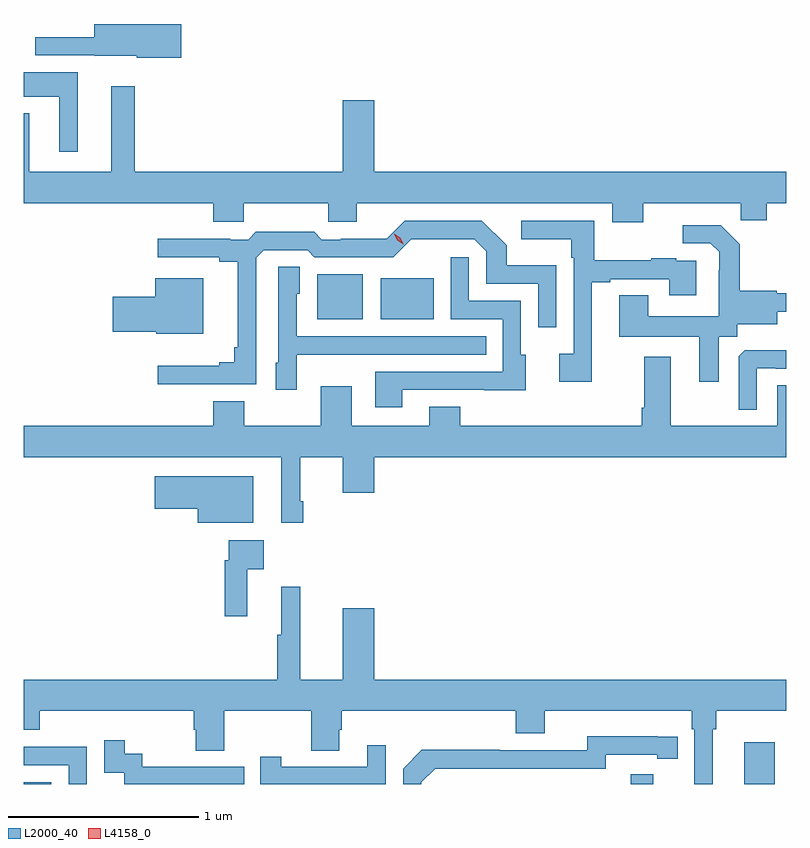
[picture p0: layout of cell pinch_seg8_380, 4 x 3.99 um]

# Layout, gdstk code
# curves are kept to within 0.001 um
import gdstk
lib = gdstk.Library(unit=1e-6, precision=1e-09)
def R(c, l, rs):  # rectangles x0, y0, x1, y1
    for r in rs: c.add(gdstk.rectangle(r[:2], r[2:], *l))
def P(c, l, *ps):  # polygons
    for p in ps: c.add(gdstk.Polygon(p, *l))
L2000_40 = (2000, 40)
L4158_0 = (4158, 0)

pinch_seg8_380 = lib.new_cell('pinch_seg8_380')
R(pinch_seg8_380, L2000_40, [(451.046,1094.805,451.191,1094.814), (454.231,1094.805,454.349,1094.857), (454.826,1094.805,454.985,1095.025), (452.585,1097.243,452.824,1097.479), (452.918,1097.243,453.196,1097.458)])
P(pinch_seg8_380, L2000_40, [(451.873,1098.792),(451.415,1098.792),(451.415,1098.723),(451.107,1098.723),(451.107,1098.627),(451.419,1098.627),(451.419,1098.626),(451.638,1098.626),(451.638,1098.614),(451.873,1098.614)],
  [(451.33,1098.538),(451.046,1098.538),(451.046,1098.41),(451.232,1098.41),(451.232,1098.123),(451.33,1098.123)],
  [(454.297,1097.852),(454.807,1097.852),(454.807,1097.762),(454.945,1097.762),(454.945,1097.852),(455.046,1097.852),(455.046,1098.016),(452.884,1098.016),(452.884,1098.391),(452.72,1098.391),(452.72,1098.016),(451.627,1098.016),(451.627,1098.466),(451.505,1098.466),(451.505,1098.016),(451.075,1098.016),(451.075,1098.325),(451.046,1098.325),(451.046,1097.852),(452.039,1097.852),(452.039,1097.754),(452.199,1097.754),(452.199,1097.852),(452.644,1097.852),(452.644,1097.754),(452.794,1097.754),(452.794,1097.852),(454.133,1097.852),(454.133,1097.753),(454.297,1097.753)],
  [(452.265,1097.565),(452.304,1097.604),(452.535,1097.604),(452.571,1097.568),(452.985,1097.568),(453.08,1097.663),(453.408,1097.664),(453.471,1097.601),(453.471,1097.43),(453.744,1097.43),(453.744,1097.202),(453.84,1097.202),(453.84,1097.527),(453.579,1097.527),(453.579,1097.63),(453.448,1097.76),(453.045,1097.76),(452.951,1097.666),(452.71,1097.666),(452.71,1097.661),(452.61,1097.661),(452.571,1097.701),(452.263,1097.701),(452.223,1097.661),(452.129,1097.661),(452.129,1097.666),(451.749,1097.666),(451.749,1097.568),(452.072,1097.568),(452.072,1097.546),(452.168,1097.546),(452.168,1097.095),(452.149,1097.095),(452.149,1097.018),(452.072,1097.018),(452.072,1096.999),(451.749,1096.999),(451.749,1096.902),(452.265,1096.902)],
  [(454.027,1097.436),(454.123,1097.436),(454.123,1097.454),(454.433,1097.454),(454.433,1097.37),(454.573,1097.37),(454.573,1097.55),(454.469,1097.55),(454.469,1097.563),(454.337,1097.563),(454.337,1097.552),(454.039,1097.552),(454.039,1097.76),(453.657,1097.76),(453.657,1097.663),(453.918,1097.663),(453.918,1097.567),(453.93,1097.567),(453.93,1097.062),(453.855,1097.062),(453.855,1096.914),(454.027,1096.914)],
  [(454.693,1097.152),(454.788,1097.152),(454.788,1097.216),(454.999,1097.216),(454.999,1097.283),(455.046,1097.283),(455.046,1097.379),(454.995,1097.379),(454.995,1097.392),(454.803,1097.392),(454.803,1097.637),(454.703,1097.737),(454.503,1097.737),(454.503,1097.643),(454.647,1097.643),(454.694,1097.596),(454.694,1097.501),(454.692,1097.501),(454.692,1097.26),(454.321,1097.26),(454.321,1097.369),(454.169,1097.369),(454.169,1097.15),(454.589,1097.15),(454.589,1096.914),(454.693,1096.914)],
  [(453.031,1096.872),(453.461,1096.872),(453.461,1096.871),(453.679,1096.871),(453.679,1097.058),(453.654,1097.058),(453.654,1097.34),(453.381,1097.34),(453.381,1097.569),(453.285,1097.569),(453.285,1097.244),(453.558,1097.244),(453.558,1096.968),(452.891,1096.968),(452.891,1096.782),(453.031,1096.782)],
  [(452.478,1097.057),(452.795,1097.057),(452.795,1097.058),(453.473,1097.058),(453.473,1097.154),(452.478,1097.154),(452.478,1097.376),(452.494,1097.376),(452.494,1097.519),(452.382,1097.519),(452.382,1097.016),(452.369,1097.016),(452.369,1096.872),(452.478,1096.872)],
  [(451.987,1097.458),(451.736,1097.458),(451.736,1097.36),(451.512,1097.36),(451.512,1097.177),(451.74,1097.177),(451.74,1097.168),(451.987,1097.168)],
  [(454.89,1096.986),(454.99,1096.986),(454.99,1096.983),(455.046,1096.983),(455.046,1097.081),(454.829,1097.081),(454.797,1097.049),(454.797,1096.769),(454.89,1096.769)],
  [(452.513,1096.288),(452.496,1096.288),(452.496,1096.52),(452.72,1096.52),(452.72,1096.332),(452.884,1096.332),(452.884,1096.52),(455.046,1096.52),(455.046,1096.898),(454.998,1096.898),(454.998,1096.684),(454.441,1096.684),(454.441,1097.047),(454.301,1097.047),(454.301,1096.78),(454.289,1096.78),(454.289,1096.684),(453.337,1096.684),(453.337,1096.783),(453.173,1096.783),(453.173,1096.684),(452.767,1096.684),(452.767,1096.891),(452.603,1096.891),(452.603,1096.684),(452.203,1096.684),(452.203,1096.813),(452.039,1096.813),(452.039,1096.684),(451.046,1096.684),(451.046,1096.52),(452.396,1096.52),(452.396,1096.176),(452.513,1096.176)],
  [(452.251,1096.42),(451.734,1096.42),(451.734,1096.25),(451.958,1096.25),(451.958,1096.175),(452.251,1096.175)],
  [(452.219,1095.932),(452.305,1095.932),(452.305,1096.084),(452.121,1096.084),(452.121,1095.98),(452.101,1095.98),(452.101,1095.684),(452.219,1095.684)],
  [(454.66,1095.092),(454.679,1095.092),(454.679,1095.188),(455.046,1095.188),(455.046,1095.352),(452.884,1095.352),(452.884,1095.727),(452.72,1095.727),(452.72,1095.352),(452.496,1095.352),(452.496,1095.841),(452.396,1095.841),(452.396,1095.588),(452.377,1095.588),(452.377,1095.352),(451.046,1095.352),(451.046,1095.089),(451.13,1095.089),(451.13,1095.188),(451.937,1095.188),(451.937,1095.09),(451.949,1095.09),(451.949,1094.98),(452.097,1094.98),(452.097,1095.188),(452.554,1095.188),(452.554,1094.98),(452.701,1094.98),(452.701,1095.09),(452.714,1095.09),(452.714,1095.188),(453.626,1095.188),(453.626,1095.071),(453.778,1095.071),(453.778,1095.188),(454.55,1095.188),(454.55,1095.092),(454.563,1095.092),(454.563,1094.805),(454.66,1094.805)],
  [(453.132,1094.814),(453.204,1094.886),(454.098,1094.886),(454.098,1094.958),(454.37,1094.958),(454.37,1094.938),(454.478,1094.938),(454.478,1095.054),(454.002,1095.055),(454.002,1094.982),(453.542,1094.982),(453.542,1094.984),(453.134,1094.984),(453.036,1094.886),(453.036,1094.805),(453.132,1094.805)],
  [(452.202,1094.895),(451.668,1094.895),(451.668,1094.964),(451.576,1094.964),(451.576,1095.034),(451.467,1095.034),(451.467,1094.865),(451.572,1094.865),(451.572,1094.805),(452.202,1094.805)],
  [(452.946,1095.007),(452.849,1095.007),(452.849,1094.895),(452.398,1094.895),(452.398,1094.947),(452.287,1094.947),(452.287,1094.805),(452.946,1094.805)],
  [(451.377,1095),(451.046,1095),(451.046,1094.904),(451.281,1094.904),(451.281,1094.805),(451.377,1094.805)])
P(pinch_seg8_380, L4158_0, [(453.036,1097.636),(453.005,1097.657),(452.989,1097.691),(452.989,1097.691),(452.989,1097.691),(453.02,1097.67),(453.036,1097.636),(453.036,1097.636)])

lib.write_gds('pinch_seg8_380.gds')
